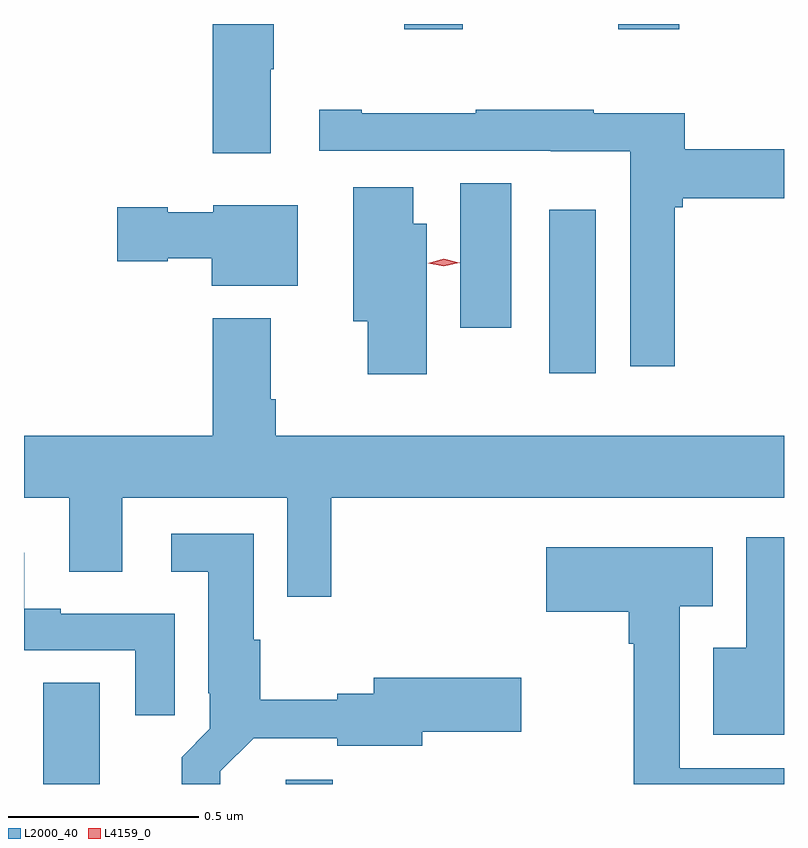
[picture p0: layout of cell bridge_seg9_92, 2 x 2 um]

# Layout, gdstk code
import gdstk
lib = gdstk.Library(unit=1e-6, precision=1e-09)
def R(c, l, rs):  # rectangles x0, y0, x1, y1
    for r in rs: c.add(gdstk.rectangle(r[:2], r[2:], *l))
def P(c, l, *ps):  # polygons
    for p in ps: c.add(gdstk.Polygon(p, *l))
L2000_40 = (2000, 40)
L4159_0 = (4159, 0)

bridge_seg9_92 = lib.new_cell('bridge_seg9_92')
R(bridge_seg9_92, L2000_40, [(710.372,1228.967,710.521,1229.234), (711.011,1228.967,711.134,1228.978), (711.704,1230.048,711.826,1230.478), (711.47,1230.168,711.604,1230.548), (711.322,1230.953,711.477,1230.967), (711.886,1230.953,712.046,1230.967)])
P(bridge_seg9_92, L2000_40, [(710.971,1230.848),(710.979,1230.848),(710.979,1230.967),(710.819,1230.967),(710.819,1230.627),(710.971,1230.627)],
  [(712.034,1230.485),(712.056,1230.485),(712.056,1230.508),(712.322,1230.508),(712.322,1230.637),(712.061,1230.637),(712.061,1230.732),(711.821,1230.732),(711.821,1230.742),(711.511,1230.742),(711.511,1230.732),(711.211,1230.732),(711.211,1230.742),(711.099,1230.742),(711.099,1230.633),(711.708,1230.633),(711.708,1230.632),(711.918,1230.632),(711.918,1230.066),(712.034,1230.066)],
  [(711.382,1230.442),(711.346,1230.442),(711.346,1230.538),(711.188,1230.538),(711.188,1230.185),(711.227,1230.185),(711.227,1230.045),(711.382,1230.045)],
  [(711.043,1230.49),(710.82,1230.49),(710.82,1230.472),(710.7,1230.472),(710.7,1230.485),(710.568,1230.485),(710.568,1230.343),(710.7,1230.343),(710.7,1230.35),(710.816,1230.35),(710.816,1230.278),(711.043,1230.278)],
  [(711.131,1229.72),(712.322,1229.72),(712.322,1229.884),(710.984,1229.884),(710.984,1229.98),(710.971,1229.98),(710.971,1230.193),(710.819,1230.193),(710.819,1229.884),(710.322,1229.884),(710.322,1229.72),(710.441,1229.72),(710.441,1229.526),(710.581,1229.526),(710.581,1229.72),(711.015,1229.72),(711.015,1229.46),(711.131,1229.46)],
  [(710.839,1229),(710.926,1229.088),(711.146,1229.088),(711.146,1229.068),(711.37,1229.068),(711.37,1229.105),(711.631,1229.105),(711.631,1229.247),(711.242,1229.247),(711.242,1229.204),(711.146,1229.204),(711.146,1229.189),(710.944,1229.189),(710.944,1229.346),(710.926,1229.346),(710.926,1229.626),(710.709,1229.626),(710.709,1229.525),(710.807,1229.525),(710.807,1229.206),(710.811,1229.206),(710.811,1229.112),(710.737,1229.038),(710.737,1228.967),(710.839,1228.967)],
  [(712.322,1229.617),(712.223,1229.617),(712.223,1229.326),(712.136,1229.326),(712.136,1229.096),(712.322,1229.096)],
  [(712.322,1229.008),(712.048,1229.008),(712.048,1229.435),(712.135,1229.435),(712.135,1229.59),(711.696,1229.59),(711.696,1229.42),(711.914,1229.42),(711.914,1229.336),(711.926,1229.336),(711.926,1228.967),(712.322,1228.967)],
  [(710.719,1229.415),(710.419,1229.415),(710.419,1229.428),(710.323,1229.428),(710.323,1229.575),(710.322,1229.575),(710.322,1229.319),(710.615,1229.319),(710.615,1229.148),(710.719,1229.148)])
P(bridge_seg9_92, L4159_0, [(711.427,1230.329),(711.386,1230.338),(711.386,1230.338),(711.386,1230.338),(711.427,1230.349),(711.468,1230.339),(711.469,1230.339),(711.468,1230.339)])

lib.write_gds('bridge_seg9_92.gds')
